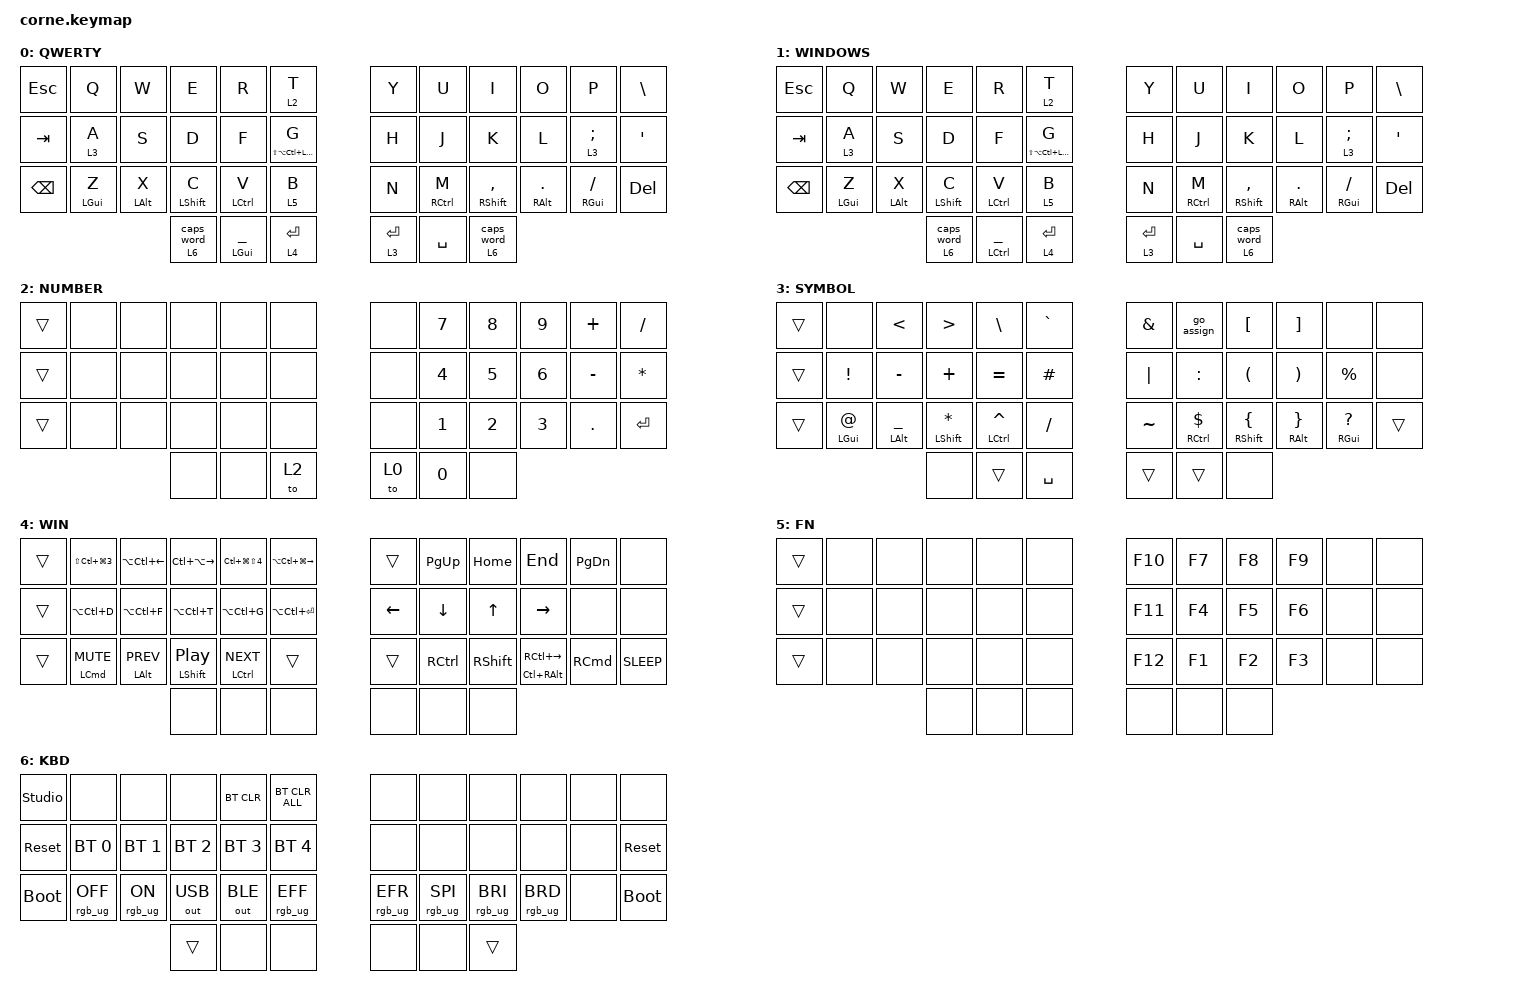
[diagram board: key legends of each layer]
#include <dt-bindings/zmk/mouse.h>
#include <input/processors.dtsi>
#include <behaviors.dtsi>
#include <dt-bindings/zmk/bt.h>
#include <dt-bindings/zmk/keys.h>
#include <dt-bindings/zmk/outputs.h>
#include <dt-bindings/zmk/rgb.h>

/ {
    behaviors {
        td0: td0 {
            compatible = "zmk,behavior-tap-dance";
            display-name = "Shift/Caps Lock Tap Dance";
            #binding-cells = <0>;
            bindings = <&kp LEFT_SHIFT>, <&kp CAPS>;
        };

        caps_word_mo: caps_word_mo {
            compatible = "zmk,behavior-hold-tap";
            label = "CAPS_WORD_MO";
            bindings = <&mo>, <&caps_word>;

            #binding-cells = <2>;
            flavor = "balanced";
            tapping-term-ms = <200>;
        };

        nums_word_mo: nums_word_mo {
            compatible = "zmk,behavior-hold-tap";
            label = "NUMS_WORD_MO";
            bindings = <&mo>, <&caps_word>;

            #binding-cells = <2>;
            tapping-term-ms = <200>;
            flavor = "balanced";
        };

        tp: tp {
            compatible = "zmk,behavior-hold-tap";
            label = "tap_preferred";
            bindings = <&kp>, <&kp>;

            #binding-cells = <2>;
            tapping-term-ms = <200>;
            quick-tap-ms = <175>;
            flavor = "tap-preferred";
            require-prior-idle-ms = <150>;
        };

        HMR: HMR {
            compatible = "zmk,behavior-hold-tap";
            label = "HMR";
            bindings = <&kp>, <&kp>;

            #binding-cells = <2>;
            tapping-term-ms = <200>;
            quick-tap-ms = <175>;
            flavor = "tap-preferred";
            hold-trigger-key-positions = <0 1 2 3 4 5 12 13 14 15 16 17 24 25 26 27 28 29 36 37 38 39 40 41>;
            hold-trigger-on-release;
            require-prior-idle-ms = <150>;
        };

        HML: HML {
            compatible = "zmk,behavior-hold-tap";
            label = "HML";
            bindings = <&kp>, <&kp>;

            #binding-cells = <2>;
            tapping-term-ms = <200>;
            quick-tap-ms = <175>;
            flavor = "tap-preferred";
            hold-trigger-key-positions = <36 37 38 6 7 8 9 10 11 18 19 20 21 22 23 30 31 32 33 34 35 39 40 41>;
            hold-trigger-on-release;
            require-prior-idle-ms = <150>;
        };
    };

    combos {
        compatible = "zmk,combos";

        caps_word_hml {
            bindings = <&caps_word>;
            key-positions = <15 14>;
            layers = <0>;
            require-prior-idle-ms = <75>;
        };

        assign {
            bindings = <&kp EQUAL>;
            key-positions = <16 15>;
            layers = <0>;
            require-prior-idle-ms = <75>;
        };

        lt {
            bindings = <&kp LESS_THAN>;
            key-positions = <2 3>;
            layers = <0>;
            require-prior-idle-ms = <75>;
        };

        gt {
            bindings = <&kp GREATER_THAN>;
            key-positions = <3 4>;
            layers = <0>;
            require-prior-idle-ms = <75>;
        };

        l_bracket {
            bindings = <&kp LEFT_BRACKET>;
            key-positions = <8 7>;
            layers = <0>;
            require-prior-idle-ms = <75>;
        };

        r_bracket {
            bindings = <&kp RIGHT_BRACKET>;
            key-positions = <9 8>;
            layers = <0>;
            require-prior-idle-ms = <75>;
        };

        l_paren {
            bindings = <&kp LEFT_PARENTHESIS>;
            key-positions = <19 20>;
            layers = <0>;
            require-prior-idle-ms = <75>;
        };

        r_paren {
            bindings = <&kp RIGHT_PARENTHESIS>;
            key-positions = <20 21>;
            layers = <0>;
            require-prior-idle-ms = <75>;
        };

        l_brace {
            bindings = <&kp LEFT_BRACE>;
            key-positions = <31 32>;
            layers = <0>;
            require-prior-idle-ms = <75>;
        };

        r_brace {
            bindings = <&kp RIGHT_BRACE>;
            key-positions = <32 33>;
            require-prior-idle-ms = <75>;
            layers = <0>;
        };

        windows {
            bindings = <&to 1>;
            key-positions = <2 3 4>;
            layers = <0>;
        };

        mac {
            bindings = <&to 0>;
            key-positions = <2 3 4>;
            layers = <1>;
        };
    };

    macros {
        go_assign: go_assign {
            compatible = "zmk,behavior-macro";
            #binding-cells = <0>;
            bindings = <&kp RS(SEMICOLON) &kp EQUAL>;
            label = "GO_ASSIGN";
        };
    };

    keymap {
        compatible = "zmk,keymap";

        default_layer {
            display-name = "QWERTY";
            bindings = <
&kp ESCAPE     &kp Q            &kp W            &kp E              &kp R                    &lt 2 T                       &kp Y        &kp U                 &kp I                   &kp O                  &kp P                 &kp BACKSLASH
&kp TAB        &lt 3 A          &kp S            &kp D              &kp F                    &tp LS(LA(LC(LEFT_GUI))) G    &kp H        &kp J                 &kp K                   &kp L                  &lt 3 SEMICOLON       &kp SQT
&kp BACKSPACE  &HML LEFT_GUI Z  &HML LEFT_ALT X  &HML LEFT_SHIFT C  &HML LCTRL V             &lt 5 B                       &kp N        &HMR RIGHT_CONTROL M  &HMR RIGHT_SHIFT COMMA  &HMR RIGHT_ALT PERIOD  &HMR RIGHT_GUI SLASH  &kp DELETE
                                                 &caps_word_mo 6 0  &mt LEFT_GUI UNDERSCORE  &lt 4 ENTER                   &lt 3 ENTER  &kp SPACE             &nums_word_mo 6 0
            >;
        };

        windows {
            display-name = "WINDOWS";
            bindings = <
&kp ESCAPE     &kp Q            &kp W            &kp E              &kp R                 &lt 2 T                       &kp Y        &kp U                 &kp I                   &kp O             &kp P            &kp BACKSLASH
&kp TAB        &lt 3 A          &kp S            &kp D              &kp F                 &tp LS(LA(LC(LEFT_GUI))) G    &kp H        &kp J                 &kp K                   &kp L             &lt 3 SEMICOLON  &kp SQT
&kp BACKSPACE  &HML LEFT_GUI Z  &HML LEFT_ALT X  &HML LEFT_SHIFT C  &HML LCTRL V          &lt 5 B                       &kp N        &HMR RIGHT_CONTROL M  &HMR RIGHT_SHIFT COMMA  &HMR RALT PERIOD  &HMR RGUI SLASH  &kp DELETE
                                                 &caps_word_mo 6 0  &mt LCTRL UNDERSCORE  &lt 4 ENTER                   &lt 3 ENTER  &kp SPACE             &nums_word_mo 6 0
            >;
        };

        number {
            display-name = "NUMBER";
            bindings = <
&trans  &none  &none  &none  &none  &none    &none  &kp N7  &kp N8  &kp N9  &kp PLUS    &kp SLASH
&trans  &none  &none  &none  &none  &none    &none  &kp N4  &kp N5  &kp N6  &kp MINUS   &kp ASTERISK
&trans  &none  &none  &none  &none  &none    &none  &kp N1  &kp N2  &kp N3  &kp PERIOD  &kp ENTER
                      &none  &none  &to 2    &to 0  &kp N0  &none
            >;
        };

        symbol {
            display-name = "SYMBOL";
            bindings = <
&trans  &none             &kp LESS_THAN    &kp GREATER_THAN      &kp BACKSLASH     &kp GRAVE    &kp AMPS   &go_assign               &kp LEFT_BRACKET             &kp RIGHT_BRACKET      &none                    &none
&trans  &kp EXCL          &kp MINUS        &kp PLUS              &kp EQUAL         &kp POUND    &kp PIPE   &kp COLON                &kp LEFT_PARENTHESIS         &kp RIGHT_PARENTHESIS  &kp PERCENT              &none
&trans  &HML LEFT_GUI AT  &HML LALT UNDER  &HML LSHIFT ASTERISK  &HML LCTRL CARET  &kp SLASH    &kp TILDE  &HMR RIGHT_CONTROL DLLR  &HMR RIGHT_SHIFT LEFT_BRACE  &HMR RALT RIGHT_BRACE  &HMR RIGHT_GUI QUESTION  &trans
                                           &none                 &trans            &kp SPACE    &trans     &trans                   &none
            >;
        };

        win {
            display-name = "WIN";
            bindings = <
&trans  &kp LS(LC(LG(N3)))  &kp LA(LC(LEFT))  &kp LC(LA(RIGHT))        &kp LC(LG(LS(N4)))  &kp LA(LC(LG(RIGHT)))    &trans    &kp PAGE_UP  &kp HOME    &kp END                  &kp PAGE_DOWN  &none
&trans  &kp LA(LC(D))       &kp LA(LC(F))     &kp LA(LC(T))            &kp LA(LC(G))       &kp LA(LC(ENTER))        &kp LEFT  &kp DOWN     &kp UP      &kp RIGHT                &none          &none
&trans  &HML LCMD C_MUTE    &HML LALT C_PREV  &HML LSHFT C_PLAY_PAUSE  &HML LCTRL C_NEXT   &trans                   &trans    &kp RCTRL    &kp RSHIFT  &HMR LC(RALT) RC(RIGHT)  &kp RCMD       &kp C_SLEEP
                                              &none                    &none               &none                    &none     &none        &none
            >;
        };

        function {
            display-name = "FN";
            bindings = <
&trans  &none  &none  &none  &none  &none    &kp F10  &kp F7  &kp F8  &kp F9  &none  &none
&trans  &none  &none  &none  &none  &none    &kp F11  &kp F4  &kp F5  &kp F6  &none  &none
&trans  &none  &none  &none  &none  &none    &kp F12  &kp F1  &kp F2  &kp F3  &none  &none
                      &none  &none  &none    &none    &none   &none
            >;
        };

        kbd_ctl {
            display-name = "KBD";
            bindings = <
&studio_unlock  &none            &none           &none         &bt BT_CLR    &bt BT_CLR_ALL     &none            &none            &none            &none            &none  &none
&sys_reset      &bt BT_SEL 0     &bt BT_SEL 1    &bt BT_SEL 2  &bt BT_SEL 3  &bt BT_SEL 4       &none            &none            &none            &none            &none  &sys_reset
&bootloader     &rgb_ug RGB_OFF  &rgb_ug RGB_ON  &out OUT_USB  &out OUT_BLE  &rgb_ug RGB_EFF    &rgb_ug RGB_EFR  &rgb_ug RGB_SPI  &rgb_ug RGB_BRI  &rgb_ug RGB_BRD  &none  &bootloader
                                                 &trans        &none         &none              &none            &none            &trans
            >;
        };
    };
};
